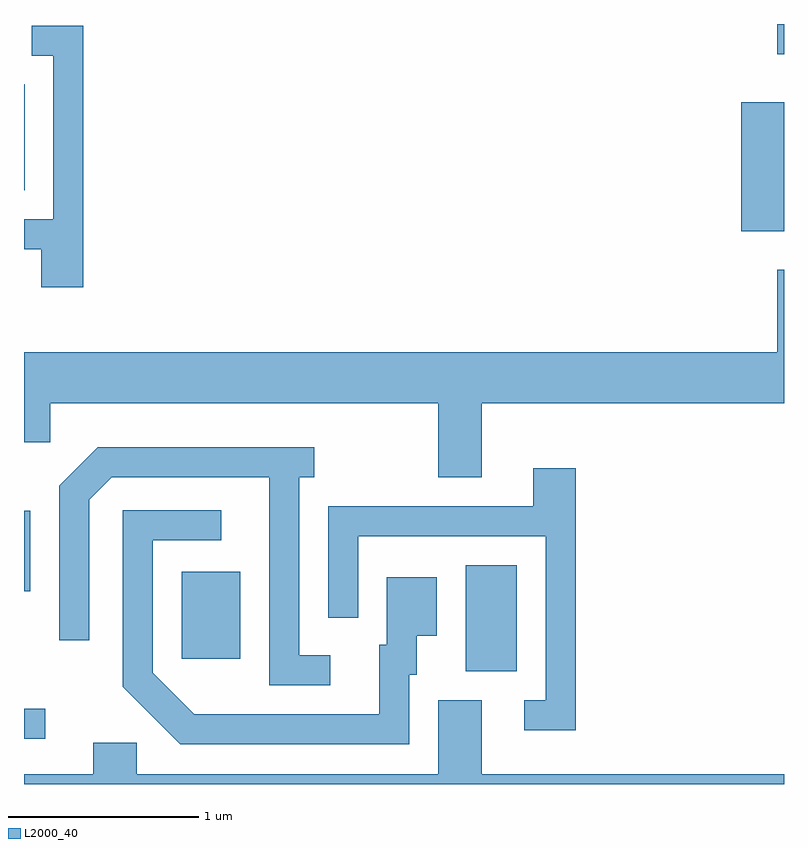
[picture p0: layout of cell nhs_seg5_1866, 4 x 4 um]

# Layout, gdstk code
import gdstk
lib = gdstk.Library(unit=1e-6, precision=1e-09)
def R(c, l, rs):  # rectangles x0, y0, x1, y1
    for r in rs: c.add(gdstk.rectangle(r[:2], r[2:], *l))
def P(c, l, *ps):  # polygons
    for p in ps: c.add(gdstk.Polygon(p, *l))
L2000_40 = (2000, 40)

nhs_seg5_1866 = lib.new_cell('nhs_seg5_1866')
R(nhs_seg5_1866, L2000_40, [(239.611,1508.311,239.723,1508.469), (241.936,1508.666,242.204,1509.224), (240.441,1508.731,240.749,1509.189), (239.611,1509.086,239.644,1509.509), (243.386,1510.981,243.611,1511.659), (239.611,1511.196,239.614,1511.754), (243.576,1511.913,243.611,1512.072)])
P(nhs_seg5_1866, L2000_40, [(239.924,1512.064),(239.653,1512.064),(239.653,1511.906),(239.766,1511.906),(239.766,1511.044),(239.611,1511.044),(239.611,1510.886),(239.701,1510.886),(239.701,1510.686),(239.924,1510.686)],
  [(242.019,1510.076),(243.611,1510.076),(243.611,1510.778),(243.576,1510.778),(243.576,1510.344),(239.611,1510.344),(239.611,1509.871),(239.749,1509.871),(239.749,1510.076),(241.791,1510.076),(241.791,1509.686),(242.019,1509.686)],
  [(241.223,1508.749),(241.059,1508.749),(241.059,1509.686),(241.138,1509.686),(241.138,1509.844),(239.999,1509.844),(239.796,1509.642),(239.796,1508.828),(239.954,1508.828),(239.954,1509.569),(240.072,1509.686),(240.901,1509.686),(240.901,1508.591),(241.223,1508.591)],
  [(242.514,1509.734),(242.291,1509.734),(242.291,1509.534),(241.211,1509.534),(241.211,1508.948),(241.369,1508.948),(241.369,1509.376),(242.356,1509.376),(242.356,1508.514),(242.243,1508.514),(242.243,1508.356),(242.514,1508.356)],
  [(241.639,1508.646),(241.679,1508.646),(241.679,1508.851),(241.784,1508.851),(241.784,1509.159),(241.521,1509.159),(241.521,1508.804),(241.481,1508.804),(241.481,1508.439),(240.507,1508.439),(240.289,1508.657),(240.289,1509.356),(240.648,1509.356),(240.648,1509.514),(240.131,1509.514),(240.131,1508.584),(240.434,1508.281),(241.639,1508.281)],
  [(243.611,1508.124),(242.019,1508.124),(242.019,1508.514),(241.791,1508.514),(241.791,1508.124),(240.204,1508.124),(240.204,1508.289),(239.976,1508.289),(239.976,1508.124),(239.611,1508.124),(239.611,1508.072),(243.611,1508.072)])

lib.write_gds('nhs_seg5_1866.gds')
